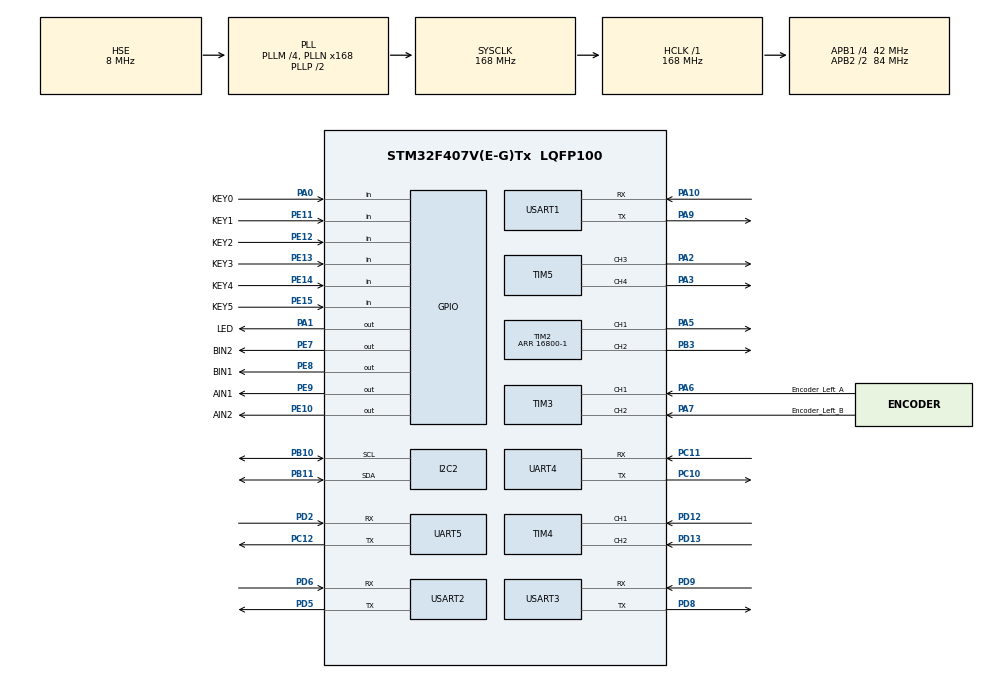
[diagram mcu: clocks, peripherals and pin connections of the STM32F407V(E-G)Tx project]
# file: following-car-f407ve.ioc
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Dma.Request0=UART4_RX
Dma.Request1=USART1_RX
Dma.Request2=USART3_RX
Dma.Request3=UART5_RX
Dma.UART4_RX.0.Direction=DMA_PERIPH_TO_MEMORY
Dma.UART4_RX.0.FIFOMode=DMA_FIFOMODE_DISABLE
Dma.UART4_RX.0.Instance=DMA1_Stream2
Dma.UART4_RX.0.MemDataAlignment=DMA_MDATAALIGN_BYTE
Dma.UART4_RX.0.MemInc=DMA_MINC_ENABLE
Dma.UART4_RX.0.Mode=DMA_NORMAL
Dma.UART4_RX.0.PeriphDataAlignment=DMA_PDATAALIGN_BYTE
Dma.UART4_RX.0.PeriphInc=DMA_PINC_DISABLE
Dma.UART4_RX.0.Priority=DMA_PRIORITY_LOW
Dma.UART5_RX.3.Direction=DMA_PERIPH_TO_MEMORY
Dma.UART5_RX.3.FIFOMode=DMA_FIFOMODE_DISABLE
Dma.UART5_RX.3.Instance=DMA1_Stream0
Dma.UART5_RX.3.MemDataAlignment=DMA_MDATAALIGN_BYTE
Dma.UART5_RX.3.MemInc=DMA_MINC_ENABLE
Dma.UART5_RX.3.Mode=DMA_NORMAL
Dma.UART5_RX.3.PeriphDataAlignment=DMA_PDATAALIGN_BYTE
Dma.UART5_RX.3.PeriphInc=DMA_PINC_DISABLE
Dma.UART5_RX.3.Priority=DMA_PRIORITY_LOW
Dma.USART1_RX.1.Direction=DMA_PERIPH_TO_MEMORY
Dma.USART1_RX.1.FIFOMode=DMA_FIFOMODE_DISABLE
Dma.USART1_RX.1.Instance=DMA2_Stream2
Dma.USART1_RX.1.MemDataAlignment=DMA_MDATAALIGN_BYTE
Dma.USART1_RX.1.MemInc=DMA_MINC_ENABLE
Dma.USART1_RX.1.Mode=DMA_NORMAL
Dma.USART1_RX.1.PeriphDataAlignment=DMA_PDATAALIGN_BYTE
Dma.USART1_RX.1.PeriphInc=DMA_PINC_DISABLE
Dma.USART1_RX.1.Priority=DMA_PRIORITY_HIGH
Dma.USART3_RX.2.Direction=DMA_PERIPH_TO_MEMORY
Dma.USART3_RX.2.FIFOMode=DMA_FIFOMODE_DISABLE
Dma.USART3_RX.2.Instance=DMA1_Stream1
Dma.USART3_RX.2.MemDataAlignment=DMA_MDATAALIGN_BYTE
Dma.USART3_RX.2.MemInc=DMA_MINC_ENABLE
Dma.USART3_RX.2.Mode=DMA_NORMAL
Dma.USART3_RX.2.PeriphDataAlignment=DMA_PDATAALIGN_BYTE
Dma.USART3_RX.2.PeriphInc=DMA_PINC_DISABLE
Dma.USART3_RX.2.Priority=DMA_PRIORITY_MEDIUM
I2C2.I2C_Mode=I2C_Fast
Mcu.Family=STM32F4
Mcu.Name=STM32F407V(E-G)Tx
Mcu.Package=LQFP100
NVIC.DMA1_Stream0_IRQn=true\:0\:0\:false\:false\:true\:false\:true\:true
NVIC.DMA1_Stream1_IRQn=true\:0\:0\:false\:false\:true\:false\:true\:true
NVIC.DMA1_Stream2_IRQn=true\:0\:0\:false\:false\:true\:false\:true\:true
NVIC.DMA2_Stream2_IRQn=true\:0\:0\:false\:false\:true\:false\:true\:true
NVIC.PriorityGroup=NVIC_PRIORITYGROUP_4
NVIC.TIM6_DAC_IRQn=true\:0\:0\:false\:false\:true\:true\:true\:true
NVIC.UART4_IRQn=true\:0\:0\:false\:false\:true\:true\:true\:true
NVIC.UART5_IRQn=true\:0\:0\:false\:false\:true\:true\:true\:true
NVIC.USART1_IRQn=true\:2\:0\:true\:false\:true\:true\:true\:true
NVIC.USART3_IRQn=true\:0\:0\:false\:false\:true\:true\:true\:true
PA0-WKUP.GPIO_Label=KEY0
PA0-WKUP.GPIO_PuPd=GPIO_PULLDOWN
PA0-WKUP.Signal=GPIO_Input
PA1.GPIO_Label=LED
PA1.Signal=GPIO_Output
PA10.GPIO_PuPd=GPIO_PULLUP
PA10.Mode=Asynchronous
PA10.Signal=USART1_RX
PA13.Mode=Serial_Wire
PA13.Signal=SYS_JTMS-SWDIO
PA14.Mode=Serial_Wire
PA14.Signal=SYS_JTCK-SWCLK
PA2.Signal=S_TIM5_CH3
PA3.Signal=S_TIM5_CH4
PA5.Signal=S_TIM2_CH1_ETR
PA6.GPIO_Label=Encoder_Left_A
PA6.Signal=S_TIM3_CH1
PA7.GPIO_Label=Encoder_Left_B
PA7.Signal=S_TIM3_CH2
PA9.GPIO_PuPd=GPIO_PULLUP
PA9.Mode=Asynchronous
PA9.Signal=USART1_TX
PB10.Mode=I2C
PB10.Signal=I2C2_SCL
PB11.Mode=I2C
PB11.Signal=I2C2_SDA
PB3.Signal=S_TIM2_CH2
PC10.Mode=Asynchronous
PC10.Signal=UART4_TX
PC11.Mode=Asynchronous
PC11.Signal=UART4_RX
PC12.Mode=Asynchronous
PC12.Signal=UART5_TX
PD12.Signal=S_TIM4_CH1
PD13.Signal=S_TIM4_CH2
PD2.Mode=Asynchronous
PD2.Signal=UART5_RX
PD5.Mode=Asynchronous
PD5.Signal=USART2_TX
PD6.Mode=Asynchronous
PD6.Signal=USART2_RX
PD8.Mode=Asynchronous
PD8.Signal=USART3_TX
PD9.Mode=Asynchronous
PD9.Signal=USART3_RX
PE10.GPIO_Label=AIN2
PE10.Signal=GPIO_Output
PE11.GPIO_Label=KEY1
PE11.GPIO_PuPd=GPIO_PULLUP
PE11.Signal=GPIO_Input
PE12.GPIO_Label=KEY2
PE12.GPIO_PuPd=GPIO_PULLUP
PE12.Signal=GPIO_Input
PE13.GPIO_Label=KEY3
PE13.GPIO_PuPd=GPIO_PULLUP
PE13.Signal=GPIO_Input
PE14.GPIO_Label=KEY4
PE14.GPIO_PuPd=GPIO_PULLUP
PE14.Signal=GPIO_Input
PE15.GPIO_Label=KEY5
PE15.GPIO_PuPd=GPIO_PULLUP
PE15.Signal=GPIO_Input
PE7.GPIO_Label=BIN2
PE7.Signal=GPIO_Output
PE8.GPIO_Label=BIN1
PE8.Signal=GPIO_Output
PE9.GPIO_Label=AIN1
PE9.Signal=GPIO_Output
PH0-OSC_IN.Mode=HSE-External-Oscillator
PH0-OSC_IN.Signal=RCC_OSC_IN
PH1-OSC_OUT.Mode=HSE-External-Oscillator
PH1-OSC_OUT.Signal=RCC_OSC_OUT
ProjectManager.HeapSize=0x200
ProjectManager.StackSize=0x400
ProjectManager.TargetToolchain=STM32CubeIDE
RCC.48MHZClocksFreq_Value=84000000
RCC.AHBFreq_Value=168000000
RCC.APB1CLKDivider=RCC_HCLK_DIV4
RCC.APB1Freq_Value=42000000
RCC.APB1TimFreq_Value=84000000
RCC.APB2CLKDivider=RCC_HCLK_DIV2
RCC.APB2Freq_Value=84000000
RCC.APB2TimFreq_Value=168000000
RCC.CortexFreq_Value=168000000
RCC.HCLKFreq_Value=168000000
RCC.HSE_VALUE=8000000
RCC.HSI_VALUE=16000000
RCC.LSE_VALUE=32768
RCC.PLLM=4
RCC.PLLN=168
RCC.PLLSourceVirtual=RCC_PLLSOURCE_HSE
RCC.SYSCLKFreq_VALUE=168000000
RCC.SYSCLKSource=RCC_SYSCLKSOURCE_PLLCLK
RCC.VCOOutputFreq_Value=336000000
SH.S_TIM2_CH1_ETR.0=TIM2_CH1,PWM Generation1 CH1
SH.S_TIM2_CH2.0=TIM2_CH2,PWM Generation2 CH2
SH.S_TIM3_CH1.0=TIM3_CH1,Encoder_Interface
SH.S_TIM3_CH2.0=TIM3_CH2,Encoder_Interface
SH.S_TIM4_CH1.0=TIM4_CH1,Encoder_Interface
SH.S_TIM4_CH2.0=TIM4_CH2,Encoder_Interface
SH.S_TIM5_CH3.0=TIM5_CH3,PWM Generation3 CH3
SH.S_TIM5_CH4.0=TIM5_CH4,PWM Generation4 CH4
TIM2.Channel-PWM\ Generation1\ CH1=TIM_CHANNEL_1
TIM2.Channel-PWM\ Generation2\ CH2=TIM_CHANNEL_2
TIM2.Period=16800-1
TIM3.EncoderMode=TIM_ENCODERMODE_TI12
TIM4.EncoderMode=TIM_ENCODERMODE_TI12
TIM5.Channel-PWM\ Generation3\ CH3=TIM_CHANNEL_3
TIM5.Channel-PWM\ Generation4\ CH4=TIM_CHANNEL_4
TIM6.Period=100-1
TIM6.Prescaler=16800-1
UART4.VirtualMode=Asynchronous
UART5.VirtualMode=Asynchronous
USART1.VirtualMode=VM_ASYNC
USART2.VirtualMode=VM_ASYNC
USART3.VirtualMode=VM_ASYNC
VP_TIM6_VS_ClockSourceINT.Mode=Enable_Timer
VP_TIM7_VS_ClockSourceINT.Mode=Enable_Timer
board=custom

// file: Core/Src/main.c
/* USER CODE BEGIN Header */
/**
  ******************************************************************************
  * @file           : main.c
  * @brief          : Main program body
  ******************************************************************************
  * @attention
  *
  * Copyright (c) 2023 STMicroelectronics.
  * All rights reserved.
  *
  * This software is licensed under terms that can be found in the LICENSE file
  * in the root directory of this software component.
  * If no LICENSE file comes with this software, it is provided AS-IS.
  *
  ******************************************************************************
  */
/* USER CODE END Header */
#include "main.h"
#include "dma.h"
#include "i2c.h"
#include "tim.h"
#include "usart.h"
#include "gpio.h"

/* USER CODE BEGIN Includes */
#include "exti.h"
#include "string.h"
#include "display.h"
#include "string.h"
#include "display.h"
#include "stdlib.h"
#include "stdio.h"
#include "pid_control.h"
#include "motor_control.h"
#include "flash.h"
#include "fezui.h"
#include "atk_ms901m.h"
#include "atk_ms901m_uart.h"
#include "communication.h"
#include "stage.h"
/* USER CODE END Includes */

/* USER CODE BEGIN PV */
float Up_balance_KP = 200;
float Up_balance_KD = 1.1;
float Velocity_KP = -53;
float Velocity_KI = -0.265;
float Turn_KP = -20;
float Turn_KD = -0.6;
float Mechanical_Angle = -5.5;
int Mechanical_velocity = 0;
int turn_speed = 0;
int Encoder_Left=0;
int Encoder_Right = 0;
int balance_up = 0;
int velocity = 0;
int turn_out = 0;
short gx, gy, gz = 0;
float pitch, roll, yaw = 0;
int PWMA, PWMB = 0;
float tempFloat;
int8_t tempInt8[2];
uint8_t *f_ptr;
uint8_t uart1_buf[8];
uint8_t color_flag = 0;
uint8_t tempEncoder = 0;
uint32_t tick_count = 0;
/* USER CODE END PV */

void SystemClock_Config(void);

int main(void)
{

  /* MCU Configuration--------------------------------------------------------*/

  /* Reset of all peripherals, Initializes the Flash interface and the Systick. */
  HAL_Init();

  /* Configure the system clock */
  SystemClock_Config();

  /* Initialize all configured peripherals */
  MX_GPIO_Init();
  MX_DMA_Init();
  MX_I2C2_Init();
  MX_TIM2_Init();
  MX_TIM3_Init();
  MX_TIM4_Init();
  MX_TIM5_Init();
  MX_TIM6_Init();
  MX_TIM7_Init();
  MX_USART1_UART_Init();
  MX_USART2_UART_Init();
  MX_USART3_UART_Init();
  MX_UART4_Init();
  MX_UART5_Init();
  /* USER CODE BEGIN 2 */
  fezui_init();
  /* PRESETS BEGIN */
  //Flash_Recovery();
  /*
  if (HAL_GPIO_ReadPin(BOOT_GPIO_Port, BOOT_Pin))
  {
    //while(1)
    while (UI_Flag)
    {
       u8g2_ClearBuffer(&u8g2);
       if(OK_BUTTON)
       u8g2_DrawStr(&u8g2,5,ITEM_HEIGHT*1,"OK");
       if(BACK_BUTTON)
       u8g2_DrawStr(&u8g2,5,ITEM_HEIGHT*2,"BACK");
       if(UP_BUTTON)
       u8g2_DrawStr(&u8g2,5,ITEM_HEIGHT*3,"UP");
       if(DOWN_BUTTON)
       u8g2_DrawStr(&u8g2,5,ITEM_HEIGHT*4,"DOWN");
       u8g2_SendBuffer(&u8g2);
      UI_Update();
      UI_Render();
      HAL_GPIO_TogglePin(LED_GPIO_Port, LED_Pin);
    }
    Flash_Save();
  }
  else
  {
    HAL_UART_Receive_IT(&huart1, uart1_buf, 1);
    while (uart1_buf[0] != 0x10)
    {
      u8g2_ClearBuffer(&u8g2);
      u8g2_DrawStr(&u8g2, 10, 40, "Waiting for starting sign");
      u8g2_SendBuffer(&u8g2);
      HAL_UART_Receive_IT(&huart1, uart1_buf, 1);
    }

  }
  */
  //Turn.pGain=15;
  //Turn.dGain=25;
  //motor_pid_l.pGain=20;
  //motor_pid_l.iGain=10;
  //motor_pid_r.pGain=20;
  //motor_pid_r.iGain=10;
  /* PRESETS END */

  //HAL_UART_Receive_IT(&huart2, &USART_RX_BYTE, 1);
  //HAL_NVIC_DisableIRQ(EXTI15_10_IRQn); //ï¿½ï¿½NVICï¿½Ð¶Ï¿ï¿½ï¿½ï¿½ï¿½ï¿½ï¿½Ð¹Ø±ï¿½EXTI12ï¿½Ð¶ï¿½
  //MPU6050_Init(); //ï¿½ï¿½ï¿½Ê¼ï¿½ï¿½mpu6050
//  __HAL_TIM_CLEAR_FLAG(&htim1,TIM_FLAG_UPDATE);

  HAL_TIM_PWM_Start(&htim2, TIM_CHANNEL_1); //ï¿½ï¿½ï¿½ï¿½TIM2ï¿½ï¿½PWM
  HAL_TIM_PWM_Start(&htim2, TIM_CHANNEL_2);
  HAL_TIM_Encoder_Start(&htim3, TIM_CHANNEL_ALL); //ï¿½ï¿½ï¿½ï¿½TIM3 4ï¿½Ä±ï¿½ï¿½ï¿½ï¿½ï¿½Ä£Ê½
  HAL_TIM_Encoder_Start(&htim4, TIM_CHANNEL_ALL);
  HAL_TIM_Base_Start_IT(&htim6);

  //HAL_NVIC_EnableIRQ(EXTI15_10_IRQn);//ï¿½ï¿½NVICï¿½Ð¶Ï¿ï¿½ï¿½ï¿½ï¿½ï¿½ï¿½ï¿½ï¿½ï¿½ï¿½ï¿½EXTI12ï¿½Ð¶ï¿½

  atk_ms901m_uart_init(115200);
  Communication_Enable(&huart5, UART5_RX_Buffer,BUFFER_LENGTH);
  Communication_Enable(&huart4, UART4_RX_Buffer,BUFFER_LENGTH);
  Communication_Enable(&huart3, USART3_RX_Buffer,BUFFER_LENGTH);
  Communication_Enable(&huart1, USART1_RX_Buffer,BUFFER_LENGTH);

  yaw_adjust=Angle_gz+90;
  car_state =CAR_START;
  //turn_state =TURN_LEFT;

  LOG_S(hello, world)
  /* USER CODE END 2 */

  /* Infinite loop */
  /* USER CODE BEGIN WHILE */

  while (1)
  {
    if(!HAL_GPIO_ReadPin(KEY1_GPIO_Port, KEY1_Pin))
        deliver_return_flag=true;

    //tempEncoder=(motor_l.Encoder+motor_r.Encoder)/2;
    //HAL_UART_Transmit(&huart1,&tempEncoder,1,0xff);
    fezui_timer_handler();
    //HAL_UART_Transmit(&huart1,"hello, world\n",13,0xff);

   // Give_Motor_PWM(4000, 4000);
    /* USER CODE END WHILE */

  }
}

void SystemClock_Config(void)
{
  RCC_OscInitTypeDef RCC_OscInitStruct = {0};
  RCC_ClkInitTypeDef RCC_ClkInitStruct = {0};

  /** Configure the main internal regulator output voltage
  */
  __HAL_RCC_PWR_CLK_ENABLE();
  __HAL_PWR_VOLTAGESCALING_CONFIG(PWR_REGULATOR_VOLTAGE_SCALE1);

  /** Initializes the RCC Oscillators according to the specified parameters
  * in the RCC_OscInitTypeDef structure.
  */
  RCC_OscInitStruct.OscillatorType = RCC_OSCILLATORTYPE_HSE;
  RCC_OscInitStruct.HSEState = RCC_HSE_ON;
  RCC_OscInitStruct.PLL.PLLState = RCC_PLL_ON;
  RCC_OscInitStruct.PLL.PLLSource = RCC_PLLSOURCE_HSE;
  RCC_OscInitStruct.PLL.PLLM = 4;
  RCC_OscInitStruct.PLL.PLLN = 168;
  RCC_OscInitStruct.PLL.PLLP = RCC_PLLP_DIV2;
  RCC_OscInitStruct.PLL.PLLQ = 4;
  if (HAL_RCC_OscConfig(&RCC_OscInitStruct) != HAL_OK)
  {
    Error_Handler();
  }

  /** Initializes the CPU, AHB and APB buses clocks
  */
  RCC_ClkInitStruct.ClockType = RCC_CLOCKTYPE_HCLK|RCC_CLOCKTYPE_SYSCLK
                              |RCC_CLOCKTYPE_PCLK1|RCC_CLOCKTYPE_PCLK2;
  RCC_ClkInitStruct.SYSCLKSource = RCC_SYSCLKSOURCE_PLLCLK;
  RCC_ClkInitStruct.AHBCLKDivider = RCC_SYSCLK_DIV1;
  RCC_ClkInitStruct.APB1CLKDivider = RCC_HCLK_DIV4;
  RCC_ClkInitStruct.APB2CLKDivider = RCC_HCLK_DIV2;

  if (HAL_RCC_ClockConfig(&RCC_ClkInitStruct, FLASH_LATENCY_5) != HAL_OK)
  {
    Error_Handler();
  }
}

void Error_Handler(void)
{
  __disable_irq();
  while (1)
  {
  }
}
